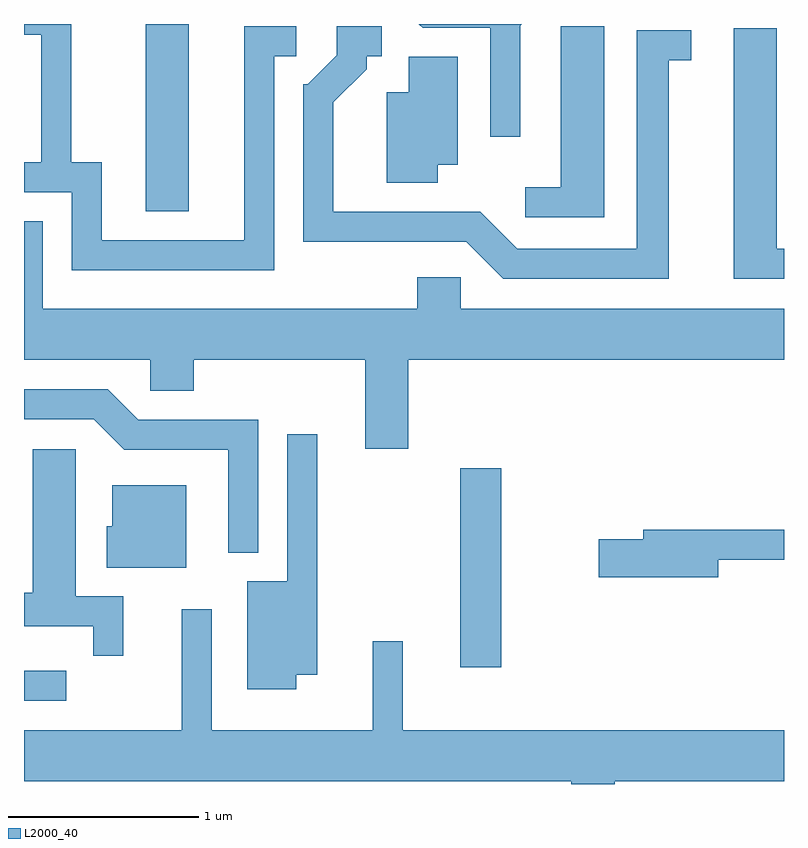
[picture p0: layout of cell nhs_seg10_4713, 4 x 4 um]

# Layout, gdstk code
import gdstk
lib = gdstk.Library(unit=1e-6, precision=1e-09)
def R(c, l, rs):  # rectangles x0, y0, x1, y1
    for r in rs: c.add(gdstk.rectangle(r[:2], r[2:], *l))
def P(c, l, *ps):  # polygons
    for p in ps: c.add(gdstk.Polygon(p, *l))
L2000_40 = (2000, 40)

nhs_seg10_4713 = lib.new_cell('nhs_seg10_4713')
R(nhs_seg10_4713, L2000_40, [(323.611,2160.961,323.833,2161.119), (325.906,2161.136,326.124,2162.184), (324.251,2163.536,324.479,2164.522)])
P(nhs_seg10_4713, L2000_40, [(324.929,2164.351),(325.043,2164.351),(325.043,2164.509),(324.771,2164.509),(324.771,2163.384),(324.019,2163.384),(324.019,2163.794),(323.859,2163.794),(323.859,2164.522),(323.611,2164.522),(323.611,2164.466),(323.701,2164.466),(323.701,2163.794),(323.611,2163.794),(323.611,2163.636),(323.861,2163.636),(323.861,2163.226),(324.929,2163.226)],
  [(326.224,2164.514),(326.232,2164.522),(325.688,2164.522),(325.709,2164.501),(326.066,2164.501),(326.066,2163.928),(326.224,2163.928)],
  [(326.664,2164.509),(326.436,2164.509),(326.436,2163.664),(326.248,2163.664),(326.248,2163.506),(326.664,2163.506)],
  [(327.004,2164.331),(327.123,2164.331),(327.123,2164.489),(326.836,2164.489),(326.836,2163.339),(326.207,2163.339),(326.012,2163.534),(325.239,2163.534),(325.239,2164.109),(325.414,2164.284),(325.414,2164.351),(325.493,2164.351),(325.493,2164.509),(325.256,2164.509),(325.256,2164.357),(325.104,2164.204),(325.081,2164.204),(325.081,2163.376),(325.939,2163.376),(326.134,2163.181),(327.004,2163.181)],
  [(327.611,2163.339),(327.574,2163.339),(327.574,2164.499),(327.346,2164.499),(327.346,2163.181),(327.611,2163.181)],
  [(325.789,2163.781),(325.894,2163.781),(325.894,2164.349),(325.636,2164.349),(325.636,2164.164),(325.521,2164.164),(325.521,2163.686),(325.789,2163.686)],
  [(325.634,2162.756),(327.611,2162.756),(327.611,2163.024),(325.909,2163.024),(325.909,2163.189),(325.681,2163.189),(325.681,2163.024),(323.709,2163.024),(323.709,2163.484),(323.611,2163.484),(323.611,2162.756),(324.276,2162.756),(324.276,2162.591),(324.504,2162.591),(324.504,2162.756),(325.406,2162.756),(325.406,2162.286),(325.634,2162.286)],
  [(324.844,2162.439),(324.212,2162.439),(324.052,2162.599),(323.611,2162.599),(323.611,2162.441),(323.979,2162.441),(324.139,2162.281),(324.686,2162.281),(324.686,2161.738),(324.844,2161.738)],
  [(325.044,2161.096),(325.154,2161.096),(325.154,2162.363),(324.996,2162.363),(324.996,2161.589),(324.786,2161.589),(324.786,2161.021),(325.044,2161.021)],
  [(324.134,2161.509),(323.884,2161.509),(323.884,2162.284),(323.656,2162.284),(323.656,2161.529),(323.611,2161.529),(323.611,2161.351),(323.976,2161.351),(323.976,2161.198),(324.134,2161.198)],
  [(324.464,2162.094),(324.076,2162.094),(324.076,2161.879),(324.046,2161.879),(324.046,2161.661),(324.464,2161.661)],
  [(327.264,2161.701),(327.611,2161.701),(327.611,2161.859),(326.871,2161.859),(326.871,2161.809),(326.636,2161.809),(326.636,2161.611),(327.264,2161.611)],
  [(326.719,2160.536),(327.611,2160.536),(327.611,2160.804),(325.604,2160.804),(325.604,2161.273),(325.446,2161.273),(325.446,2160.804),(324.599,2160.804),(324.599,2161.443),(324.441,2161.443),(324.441,2160.804),(323.611,2160.804),(323.611,2160.536),(326.491,2160.536),(326.491,2160.522),(326.719,2160.522)])

lib.write_gds('nhs_seg10_4713.gds')
